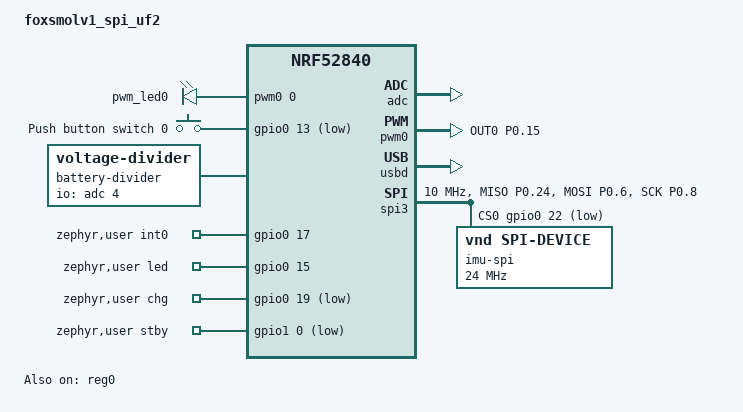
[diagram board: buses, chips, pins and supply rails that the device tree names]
// Copyright (c) 2024 Nordic Semiconductor ASA
// SPDX-License-Identifier: Apache-2.0

/dts-v1/;
#include <nordic/nrf52840_qiaa.dtsi>

//move to dtsi?
&pinctrl {
	i2c0_default: i2c0_default {
		group1 {
			psels = <NRF_PSEL(TWIM_SDA, 0, 6)>, <NRF_PSEL(TWIM_SCL, 0, 8)>;
			bias-disable;
		};
	};

	i2c0_sleep: i2c0_sleep {
		group1 {
			psels = <NRF_PSEL(TWIM_SDA, 0, 6)>, <NRF_PSEL(TWIM_SCL, 0, 8)>;
			bias-disable;
			low-power-enable;
		};
	};

	pwm0_default: pwm0_default {
		group1 {
			psels = <NRF_PSEL(PWM_OUT0, 0, 15)>;
			nordic,drive-mode = <NRF_DRIVE_D0S1>;
			nordic,invert;
		};
	};

	pwm0_sleep: pwm0_sleep {
		group1 {
			psels = <NRF_PSEL(PWM_OUT0, 0, 15)>;
			low-power-enable;
		};
	};

	spi3_default: spi3_default {
		group1 {
			psels = <NRF_PSEL(SPIM_MISO, 0, 24)>,
					<NRF_PSEL(SPIM_MOSI, 0, 6)>,
					<NRF_PSEL(SPIM_SCK, 0, 8)>;
		};
	};

	spi3_sleep: spi3_sleep {
		group1 {
			psels = <NRF_PSEL(SPIM_MISO, 0, 24)>,
					<NRF_PSEL(SPIM_MOSI, 0, 6)>,
					<NRF_PSEL(SPIM_SCK, 0, 8)>;
			low-power-enable;
		};
	};
};
//end

/ {
	model = "foxsmolv1_spi_uf2";
	compatible = "foxsmolv1_spi_uf2";

	chosen {
		zephyr,sram = &sram0;
		zephyr,flash = &flash0;
		zephyr,console = &cdc_acm_uart0;
		zephyr,shell-uart = &cdc_acm_uart0;
	};

	pwmleds {
		compatible = "pwm-leds";
		pwm_led0: pwm_led_0 {
			pwms = <&pwm0 0 PWM_MSEC(1) PWM_POLARITY_NORMAL>;
		};
	};

	buttons {
		compatible = "gpio-keys";
		button0: button_0 {
			gpios = <&gpio0 13 (GPIO_PULL_UP | GPIO_ACTIVE_LOW)>;
			label = "Push button switch 0";
		};
	};

	aliases {
		sw0 = &button0;
		pwm-led0 = &pwm_led0;
	};

	battery-divider {
		compatible = "voltage-divider";
		status = "okay";
		io-channels = <&adc 4>;
		output-ohms = <100000>;
		full-ohms = <(100000+100000)>;
	};

	zephyr,user {
		int0-gpios = <&gpio0 17 0>;
		led-gpios = <&gpio0 15 GPIO_OPEN_SOURCE>;
		chg-gpios = <&gpio0 19 (GPIO_ACTIVE_LOW | GPIO_PULL_UP)>;
		stby-gpios = <&gpio1 0 (GPIO_ACTIVE_LOW | GPIO_PULL_UP)>;
	};

};

&reg0 {
	status = "okay";
};

&reg1 {
	regulator-initial-mode = <NRF5X_REG_MODE_DCDC>;
};

&adc {
	status = "okay";
};

&gpiote {
	status = "okay";
};

&gpio0 {
	status = "okay";
};

&gpio1 {
	status = "okay";
};

&pwm0 {
	status = "okay";
	pinctrl-0 = <&pwm0_default>;
	pinctrl-1 = <&pwm0_sleep>;
	pinctrl-names = "default", "sleep";
};

zephyr_udc0: &usbd {
	compatible = "nordic,nrf-usbd";
	status = "okay";
	cdc_acm_uart0: cdc_acm_uart0 {
		compatible = "zephyr,cdc-acm-uart";
	};
};

&cryptocell {
	status = "disabled";
};

&nfct {
	status = "disabled";
};

&spi3 {
	compatible = "nordic,nrf-spim";
	status = "okay";
	max-frequency = <DT_FREQ_M(24)>;
	pinctrl-0 = <&spi3_default>;
	pinctrl-1 = <&spi3_sleep>;
	pinctrl-names = "default", "sleep";
	clock-frequency = < DT_FREQ_M(10) >;
	cs-gpios = <&gpio0 22 GPIO_ACTIVE_LOW>;

	imu_spi: imu_spi@0 {
		status = "okay";
		compatible = "vnd,spi-device";
		spi-max-frequency = <DT_FREQ_M(24)>;
		label = "imu-spi";
		reg = <0>;
	};
};

